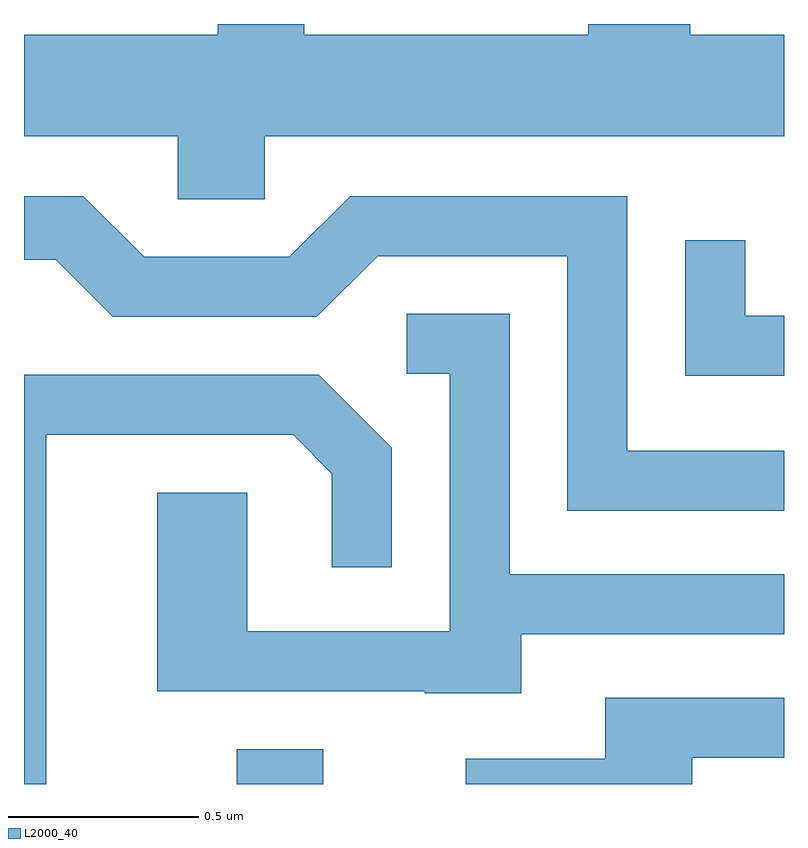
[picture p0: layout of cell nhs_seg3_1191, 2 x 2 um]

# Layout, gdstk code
import gdstk
lib = gdstk.Library(unit=1e-6, precision=1e-09)
def R(c, l, rs):  # rectangles x0, y0, x1, y1
    for r in rs: c.add(gdstk.rectangle(r[:2], r[2:], *l))
def P(c, l, *ps):  # polygons
    for p in ps: c.add(gdstk.Polygon(p, *l))
L2000_40 = (2000, 40)

nhs_seg3_1191 = lib.new_cell('nhs_seg3_1191')
R(nhs_seg3_1191, L2000_40, [(194.171,1210.892,194.399,1210.984)])
P(nhs_seg3_1191, L2000_40, [(194.244,1212.596),(195.611,1212.596),(195.611,1212.864),(195.364,1212.864),(195.364,1212.892),(195.096,1212.892),(195.096,1212.864),(194.349,1212.864),(194.349,1212.892),(194.121,1212.892),(194.121,1212.864),(193.611,1212.864),(193.611,1212.596),(194.016,1212.596),(194.016,1212.431),(194.244,1212.431)],
  [(195.611,1211.769),(195.199,1211.769),(195.199,1212.439),(194.469,1212.439),(194.309,1212.279),(193.927,1212.279),(193.767,1212.439),(193.611,1212.439),(193.611,1212.271),(193.694,1212.271),(193.844,1212.121),(194.382,1212.121),(194.542,1212.281),(195.041,1212.281),(195.041,1211.611),(195.611,1211.611)],
  [(195.611,1212.124),(195.509,1212.124),(195.509,1212.323),(195.351,1212.323),(195.351,1211.966),(195.611,1211.966)],
  [(194.919,1211.286),(195.611,1211.286),(195.611,1211.444),(194.889,1211.444),(194.889,1212.129),(194.618,1212.129),(194.618,1211.971),(194.731,1211.971),(194.731,1211.294),(194.199,1211.294),(194.199,1211.659),(193.961,1211.659),(193.961,1211.136),(194.665,1211.136),(194.665,1211.131),(194.919,1211.131)],
  [(193.669,1211.811),(194.319,1211.811),(194.421,1211.709),(194.421,1211.463),(194.579,1211.463),(194.579,1211.777),(194.387,1211.969),(193.611,1211.969),(193.611,1210.892),(193.669,1210.892)],
  [(195.369,1210.961),(195.611,1210.961),(195.611,1211.119),(195.141,1211.119),(195.141,1210.959),(194.773,1210.959),(194.773,1210.892),(195.369,1210.892)])

lib.write_gds('nhs_seg3_1191.gds')
